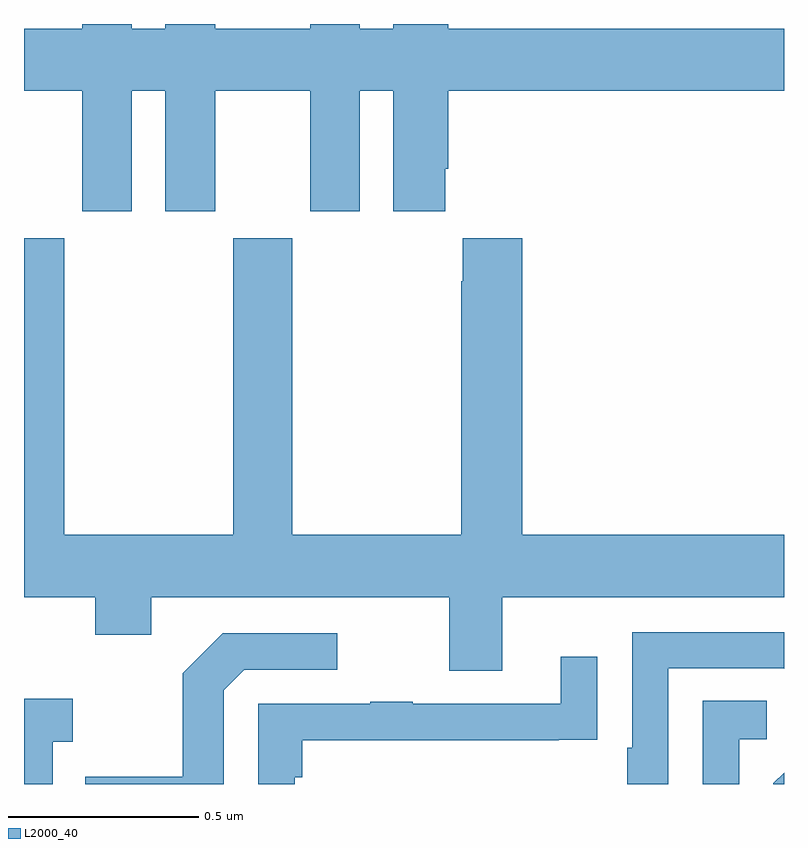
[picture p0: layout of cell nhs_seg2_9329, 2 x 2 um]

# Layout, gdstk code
import gdstk
lib = gdstk.Library(unit=1e-6, precision=1e-09)
def P(c, l, *ps):  # polygons
    for p in ps: c.add(gdstk.Polygon(p, *l))
L2000_40 = (2000, 40)

nhs_seg2_9329 = lib.new_cell('nhs_seg2_9329')
P(nhs_seg2_9329, L2000_40, [(227.284,659.624),(227.372,659.624),(227.372,659.307),(227.503,659.307),(227.503,659.624),(227.753,659.624),(227.753,659.307),(227.884,659.307),(227.884,659.624),(227.972,659.624),(227.972,659.307),(228.109,659.307),(228.109,659.419),(228.116,659.419),(228.116,659.624),(229,659.624),(229,659.788),(228.116,659.788),(228.116,659.8),(227.972,659.8),(227.972,659.788),(227.884,659.788),(227.884,659.8),(227.753,659.8),(227.753,659.788),(227.503,659.788),(227.503,659.8),(227.372,659.8),(227.372,659.788),(227.284,659.788),(227.284,659.8),(227.153,659.8),(227.153,659.788),(227,659.788),(227,659.624),(227.153,659.624),(227.153,659.307),(227.284,659.307)],
  [(228.259,658.292),(229,658.292),(229,658.456),(228.311,658.456),(228.311,659.236),(228.155,659.236),(228.155,659.123),(228.151,659.123),(228.151,658.456),(227.706,658.456),(227.706,659.236),(227.551,659.236),(227.551,658.456),(227.106,658.456),(227.106,659.236),(227,659.236),(227,658.292),(227.188,658.292),(227.188,658.193),(227.335,658.193),(227.335,658.292),(228.119,658.292),(228.119,658.098),(228.259,658.098)],
  [(228.696,658.104),(228.999,658.104),(229,658.103),(229,658.2),(228.6,658.2),(228.6,657.895),(228.587,657.895),(228.587,657.8),(228.696,657.8)],
  [(227.526,658.047),(227.58,658.101),(227.824,658.101),(227.824,658.197),(227.523,658.197),(227.418,658.091),(227.418,657.819),(227.161,657.819),(227.161,657.8),(227.526,657.8)],
  [(227.712,657.818),(227.732,657.818),(227.732,657.915),(228.407,657.915),(228.407,657.916),(228.509,657.916),(228.509,658.135),(228.413,658.135),(228.413,658.011),(228.023,658.011),(228.023,658.016),(227.911,658.016),(227.911,658.011),(227.616,658.011),(227.616,657.8),(227.712,657.8)],
  [(227.076,657.911),(227.128,657.911),(227.128,658.024),(227,658.024),(227,657.8),(227.076,657.8)],
  [(228.882,657.918),(228.955,657.918),(228.955,658.019),(228.786,658.019),(228.786,657.8),(228.882,657.8)],
  [(229,657.83),(228.972,657.802),(228.972,657.8),(229,657.8)])

lib.write_gds('nhs_seg2_9329.gds')
